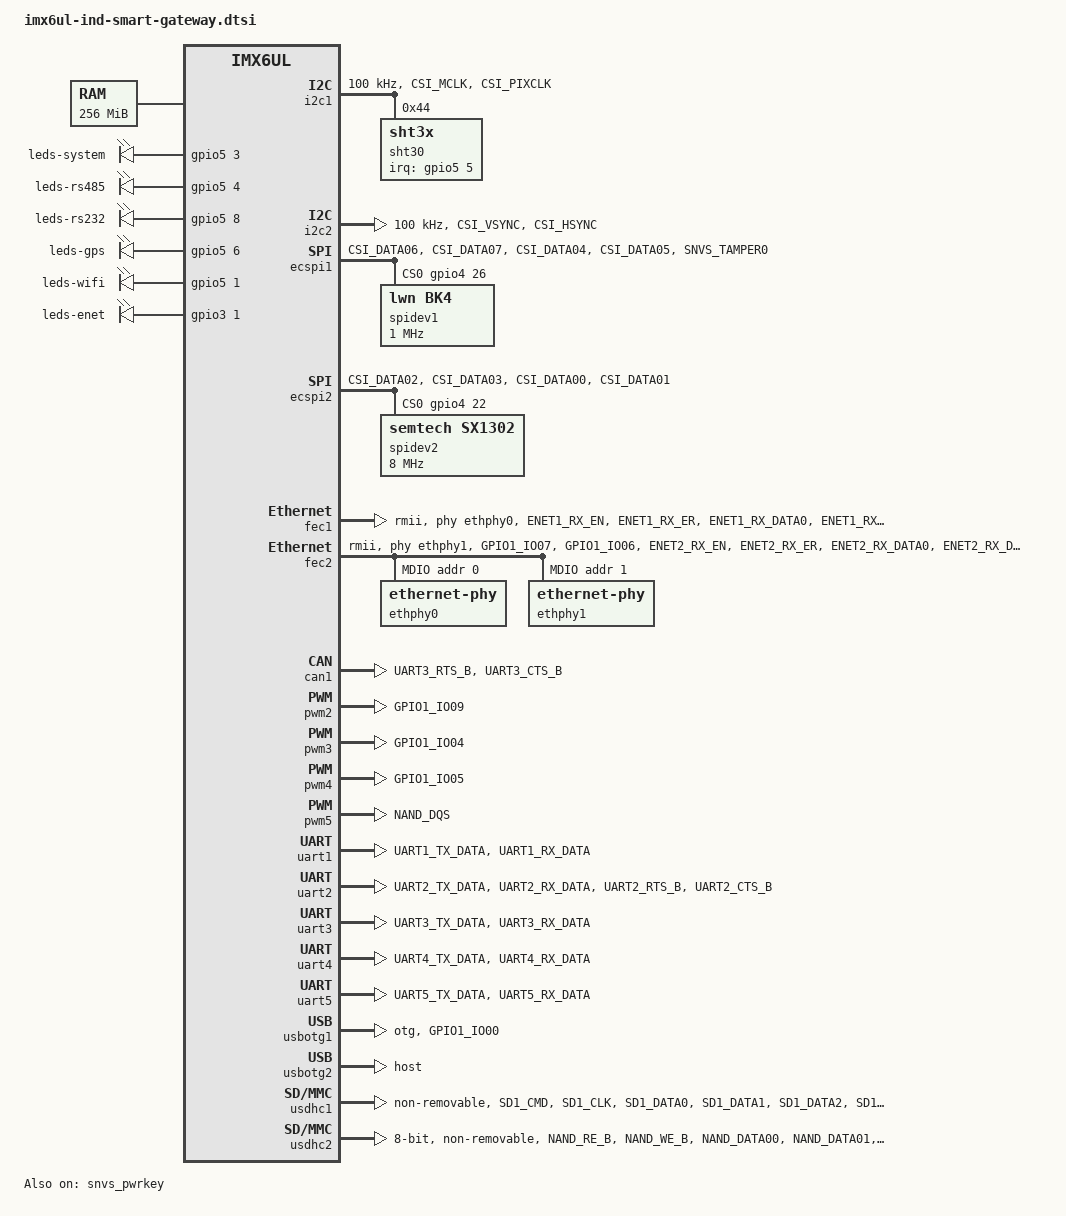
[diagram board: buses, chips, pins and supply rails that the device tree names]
// SPDX-License-Identifier: GPL-2.0
//
// Copyright (C) 2015 Freescale Semiconductor, Inc.

/ {
	chosen {
		stdout-path = &uart1;
	};

	memory@80000000 {
		device_type = "memory";
		reg = <0x80000000 0x10000000>;
	};

	reserved-memory {
		#address-cells = <1>;
		#size-cells = <1>;
		ranges;

		linux,cma {
			compatible = "shared-dma-pool";
			reusable;
			size = <0xa000000>;
			linux,cma-default;
		};
	};

	leds {
		compatible = "gpio-leds";
		pinctrl-names = "default";
		pinctrl-0 = <&pinctrl_snvs_gpio_leds>,<&pinctrl_gpio_leds>;

		leds-system {
			label = "leds-system";
			gpios = <&gpio5 3 GPIO_ACTIVE_HIGH>;    /* SYS LED */
			linux,default-trigger = "heartbeat";
			default-state = "off";
			status = "okay";
		};
	
		leds-timer {
			label = "leds-timer";
			gpios = <&gpio5 3 GPIO_ACTIVE_HIGH>;    /* SYS LED */
			linux,default-trigger = "timer";
			default-state = "off";
			status = "disable";
		};

		leds-rs485 {
			label = "leds-rs485";
			gpios = <&gpio5 4 GPIO_ACTIVE_HIGH>;    /* RS485 LED */
			linux,default-trigger = "gpio";
			trigger-sources = <&uart5>;
			default-state = "off";
			status = "okay";
		};

		leds-rs232 {
			label = "leds-rs232";
			gpios = <&gpio5 8 GPIO_ACTIVE_HIGH>;    /* RS232 LED */
			linux,default-trigger = "gpio";
			trigger-sources = <&uart3>;
			default-state = "off";
			status = "okay";
		};

		leds-gps {
			label = "leds-gps";
			gpios = <&gpio5 6 GPIO_ACTIVE_HIGH>;    /* GPS LED */
			linux,default-trigger = "gpio";
			trigger-sources = <&uart4>;
			default-state = "off";
			status = "okay";
		};

		leds-wifi {
			label = "leds-wifi";
			gpios = <&gpio5 1 GPIO_ACTIVE_HIGH>;    /* WIFI LED */
			linux,default-trigger = "gpio";
			trigger-sources = <&usdhc1>;
			default-state = "off";
			status = "okay";
		};

		leds-enet {
			label = "leds-enet";
			gpios = <&gpio3 1 GPIO_ACTIVE_HIGH>;    /* ENET LED */
			linux,default-trigger = "gpio";
			trigger-sources = <&fec1>,<&fec2>;
			default-state = "off";
			status = "okay";
		};
	};
};

&clks {
	assigned-clocks = <&clks IMX6UL_CLK_PLL4_AUDIO_DIV>;
	assigned-clock-rates = <786432000>;
};

&gpc {
	fsl,cpu_pupscr_sw2iso = <0xf>;
	fsl,cpu_pupscr_sw = <0x0>;
	fsl,cpu_pdnscr_iso2sw = <0x1>;
	fsl,cpu_pdnscr_iso = <0x1>;
	fsl,ldo-bypass = <0>; /* DCDC, ldo-enable */
};

&i2c1 {
	clock-frequency = <100000>;
	pinctrl-names = "default";
	pinctrl-0 = <&pinctrl_i2c1>;
	status = "okay";
	
	sht30@44 {
		compatible = "sht3x";
		reg = <0x44>;
		position = <0>;
		interrupt-parent = <&gpio5>;
		interrupts = <5 5>;
	};
};

&i2c2 {
	clock-frequency = <100000>;
	pinctrl-names = "default";
	pinctrl-0 = <&pinctrl_i2c2>;
	status = "okay";
};

&ecspi1 {
	fsl,spi-num-chipselects = <1>;
	cs-gpios = <&gpio4 26 0>;
	pinctrl-names = "default";
	pinctrl-0 = <&pinctrl_ecspi1>,<&pinctrl_ecspi1_int>;
	status = "okay";

	spidev1: iw612@0 {
		#address-cells = <1>;
		#size-cells = <1>;
        compatible = "lwn,bk4";
        spi-max-frequency = <1000000>;
		reg = <0>;
	};
};

&ecspi2 {
	fsl,spi-num-chipselects = <1>;
	cs-gpios = <&gpio4 22 0>;
	pinctrl-names = "default";
	pinctrl-0 = <&pinctrl_ecspi2>;
	status = "okay";

	spidev2: sx1302@0 {
		#address-cells = <1>;
		#size-cells = <1>;
		compatible = "semtech,sx1302";
		spi-max-frequency = <8000000>;
		reg = <0>;
	};
};

&fec1 {
	pinctrl-names = "default";
	pinctrl-0 = <&pinctrl_enet1>;
	phy-mode = "rmii";
	phy-handle = <&ethphy0>;
	phy-reset-gpios = <&gpio5 9 GPIO_ACTIVE_LOW>;
	phy-reset-duration = <50>;
	phy-reset-post-delay = <50>;
	status = "okay";
};

&fec2 {
	pinctrl-names = "default";
	pinctrl-0 = <&pinctrl_enet2>;
	phy-mode = "rmii";
	phy-handle = <&ethphy1>;
	phy-reset-gpios = <&gpio5 7 GPIO_ACTIVE_LOW>;
	phy-reset-duration = <50>;
	phy-reset-post-delay = <50>;
	status = "okay";

	mdio {
		#address-cells = <1>;
		#size-cells = <0>;

		ethphy0: ethernet-phy@0 {
			reg = <0>;
			micrel,led-mode = <1>;
			clocks = <&clks IMX6UL_CLK_ENET_REF>;
			clock-names = "rmii-ref";

		};

		ethphy1: ethernet-phy@1 {
			reg = <1>;
			micrel,led-mode = <1>;
			clocks = <&clks IMX6UL_CLK_ENET2_REF>;
			clock-names = "rmii-ref";
		};
	};
};

&can1 {
	pinctrl-names = "default";
	pinctrl-0 = <&pinctrl_flexcan1>;
	status = "okay";
};

&can2 {
	pinctrl-names = "default";
	pinctrl-0 = <&pinctrl_flexcan2>;
	status = "disable";
};

&pwm2 {
	#pwm-cells = <2>;
	pinctrl-names = "default";
	pinctrl-0 = <&pinctrl_pwm2>;
	clocks = <&clks IMX6UL_CLK_PWM2>,
		<&clks IMX6UL_CLK_PWM2>;
	status = "okay";
};

&pwm3 {
	#pwm-cells = <2>;
	pinctrl-names = "default";
	pinctrl-0 = <&pinctrl_pwm3>;
	clocks = <&clks IMX6UL_CLK_PWM3>,
		<&clks IMX6UL_CLK_PWM3>;
	status = "okay";
};

&pwm4 {
	#pwm-cells = <2>;
	pinctrl-names = "default";
	pinctrl-0 = <&pinctrl_pwm4>;
	clocks = <&clks IMX6UL_CLK_PWM4>,
		<&clks IMX6UL_CLK_PWM4>;
	status = "okay";
};

&pwm5 {
	#pwm-cells = <2>;
	pinctrl-names = "default";
	pinctrl-0 = <&pinctrl_pwm5>;
	clocks = <&clks IMX6UL_CLK_PWM5>,
		<&clks IMX6UL_CLK_PWM5>;
	status = "okay";
};

&sai2 {
	pinctrl-names = "default";
	pinctrl-0 = <&pinctrl_sai2>;
	assigned-clocks = <&clks IMX6UL_CLK_SAI2_SEL>,
			  <&clks IMX6UL_CLK_SAI2>;
	assigned-clock-parents = <&clks IMX6UL_CLK_PLL4_AUDIO_DIV>;
	assigned-clock-rates = <0>, <12288000>;
	fsl,sai-mclk-direction-output;
	status = "disable";
};

&snvs_poweroff {
	status = "okay";
};

&snvs_pwrkey {
	status = "okay";
};

&uart1 {
	pinctrl-names = "default";
	pinctrl-0 = <&pinctrl_uart1>;
	status = "okay";
};

&uart2 {
	pinctrl-names = "default";
	pinctrl-0 = <&pinctrl_uart2>;
	uart-has-rtscts;
	status = "okay";
};

&uart3 {
	pinctrl-names = "default";
	pinctrl-0 = <&pinctrl_uart3>;
	status = "okay";
};

&uart4 {
	pinctrl-names = "default";
	pinctrl-0 = <&pinctrl_uart4>;
	status = "okay";
};

&uart5 {
	pinctrl-names = "default";
	pinctrl-0 = <&pinctrl_uart5>;
	status = "okay";
};

&usbotg1 {
	pinctrl-names = "default";
	pinctrl-0 = <&pinctrl_usb_otg1>;
	dr_mode = "otg";
	srp-disable;
	hnp-disable;
	adp-disable;
	status = "okay";
};

&usbotg2 {
	dr_mode = "host";
	disable-over-current;
	status = "okay";
};

&usbphy1 {
	fsl,tx-d-cal = <106>;
};

&usbphy2 {
	fsl,tx-d-cal = <106>;
};

&usdhc1 {
	pinctrl-names = "default", "state_100mhz", "state_200mhz";
	pinctrl-0 = <&pinctrl_usdhc1>;
	pinctrl-1 = <&pinctrl_usdhc1_100mhz>;
	pinctrl-2 = <&pinctrl_usdhc1_200mhz>;
	non-removable;
	no-1-8-v;
	keep-power-in-suspend;
	wakeup-source;
	status = "okay";
};

&usdhc2 {
	pinctrl-names = "default", "state_100mhz", "state_200mhz";
	pinctrl-0 = <&pinctrl_usdhc2_8bit>, <&pinctrl_usdhc2_rst>;
	pinctrl-1 = <&pinctrl_usdhc2_8bit_100mhz>, <&pinctrl_usdhc2_rst>;
	pinctrl-2 = <&pinctrl_usdhc2_8bit_200mhz>, <&pinctrl_usdhc2_rst>;
	bus-width = <8>;
	non-removable;
	no-1-8-v;
	keep-power-in-suspend;
	wakeup-source;
	status = "okay";
};

&wdog1 {
	pinctrl-names = "default";
	pinctrl-0 = <&pinctrl_wdog>;
	fsl,ext-reset-output;
};

&iomuxc {
	pinctrl-names = "default";

	pinctrl_enet1: enet1grp {
		fsl,pins = <
			MX6UL_PAD_ENET1_RX_EN__ENET1_RX_EN		0x1b0b0
			MX6UL_PAD_ENET1_RX_ER__ENET1_RX_ER		0x1b0b0
			MX6UL_PAD_ENET1_RX_DATA0__ENET1_RDATA00	0x1b0b0
			MX6UL_PAD_ENET1_RX_DATA1__ENET1_RDATA01	0x1b0b0
			MX6UL_PAD_ENET1_TX_EN__ENET1_TX_EN		0x1b0b0
			MX6UL_PAD_ENET1_TX_DATA0__ENET1_TDATA00	0x1b0b0
			MX6UL_PAD_ENET1_TX_DATA1__ENET1_TDATA01	0x1b0b0
			MX6UL_PAD_ENET1_TX_CLK__ENET1_REF_CLK1	0x4001b031
			MX6ULL_PAD_SNVS_TAMPER9__GPIO5_IO09		0x80000000 /* ENET1 RST */
			MX6UL_PAD_UART1_CTS_B__GPIO1_IO18		0x80000000 /* ENET1 INT */
		>;
	};

	pinctrl_enet2: enet2grp {
		fsl,pins = <
			MX6UL_PAD_GPIO1_IO07__ENET2_MDC			0x1b0b0
			MX6UL_PAD_GPIO1_IO06__ENET2_MDIO		0x1b0b0
			MX6UL_PAD_ENET2_RX_EN__ENET2_RX_EN		0x1b0b0
			MX6UL_PAD_ENET2_RX_ER__ENET2_RX_ER		0x1b0b0
			MX6UL_PAD_ENET2_RX_DATA0__ENET2_RDATA00	0x1b0b0
			MX6UL_PAD_ENET2_RX_DATA1__ENET2_RDATA01	0x1b0b0
			MX6UL_PAD_ENET2_TX_EN__ENET2_TX_EN		0x1b0b0
			MX6UL_PAD_ENET2_TX_DATA0__ENET2_TDATA00	0x1b0b0
			MX6UL_PAD_ENET2_TX_DATA1__ENET2_TDATA01	0x1b0b0
			MX6UL_PAD_ENET2_TX_CLK__ENET2_REF_CLK2	0x4001b031
			MX6ULL_PAD_SNVS_TAMPER7__GPIO5_IO07		0x80000000  /* ENET2 RST */
			MX6UL_PAD_UART1_RTS_B__GPIO1_IO19		0x80000000	/* ENET2 INT */
		>;
	};

	pinctrl_flexcan1: flexcan1grp{
		fsl,pins = <
			MX6UL_PAD_UART3_RTS_B__FLEXCAN1_RX		0x1b020
			MX6UL_PAD_UART3_CTS_B__FLEXCAN1_TX		0x1b020
		>;
	};

	pinctrl_flexcan2: flexcan2grp{
		fsl,pins = <
			MX6UL_PAD_UART2_RTS_B__FLEXCAN2_RX		0x1b020
			MX6UL_PAD_UART2_CTS_B__FLEXCAN2_TX		0x1b020
		>;
	};

	pinctrl_i2c1: i2c1grp {
		fsl,pins = <
			MX6UL_PAD_CSI_MCLK__I2C1_SDA			0x4001b8b0
			MX6UL_PAD_CSI_PIXCLK__I2C1_SCL			0x4001b8b0
		>;
	};

	pinctrl_i2c2: i2c2grp {
		fsl,pins = <
			MX6UL_PAD_CSI_VSYNC__I2C2_SDA	  		0x4001b8b0
			MX6UL_PAD_CSI_HSYNC__I2C2_SCL	  		0x4001b8b0
		>;
	};

	pinctrl_sai2: sai2grp {
		fsl,pins = <
			MX6UL_PAD_JTAG_TDI__SAI2_TX_BCLK		0x17088
			MX6UL_PAD_JTAG_TDO__SAI2_TX_SYNC		0x17088
			MX6UL_PAD_JTAG_TRST_B__SAI2_TX_DATA		0x11088
			MX6UL_PAD_JTAG_TCK__SAI2_RX_DATA		0x11088
			MX6UL_PAD_JTAG_TMS__SAI2_MCLK			0x17088
			MX6UL_PAD_SNVS_TAMPER4__GPIO5_IO04		0x17059
		>;
	};

	pinctrl_pwm2: pwm2grp {
		fsl,pins = <
			MX6UL_PAD_GPIO1_IO09__PWM2_OUT			0x110b0		/* BUZZER */
		>;
	};

	pinctrl_pwm3: pwm3grp {
		fsl,pins = <
			MX6UL_PAD_GPIO1_IO04__PWM3_OUT			0x110b0		/* DO3 */
		>;
	};

	pinctrl_pwm4: pwm4grp {
		fsl,pins = <
			MX6UL_PAD_GPIO1_IO05__PWM4_OUT			0x110b0		/* DO2 */
		>;
	};

	pinctrl_pwm5: pwm5grp {
		fsl,pins = <
			 MX6UL_PAD_NAND_DQS__PWM5_OUT			0x110b0		/* DO1 */
		>;
	};

	pinctrl_ecspi1: ecspi1grp {
		fsl,pins = <
			MX6UL_PAD_CSI_DATA06__ECSPI1_MOSI 		0x10b0		/* MOSI */
			MX6UL_PAD_CSI_DATA07__ECSPI1_MISO 		0x10b0		/* MISO */
			MX6UL_PAD_CSI_DATA04__ECSPI1_SCLK 		0x10b0		/* SCLK */
			MX6UL_PAD_CSI_DATA05__GPIO4_IO26  		0x10b0		/* CS */
		>;
	};

	pinctrl_ecspi2: ecspi2grp {
		fsl,pins = <
			MX6UL_PAD_CSI_DATA02__ECSPI2_MOSI 		0x10b0		/* MOSI */
			MX6UL_PAD_CSI_DATA03__ECSPI2_MISO 		0x10b0		/* MISO */
			MX6UL_PAD_CSI_DATA00__ECSPI2_SCLK 		0x10b0		/* SCLK */
			MX6UL_PAD_CSI_DATA01__GPIO4_IO22  		0x10b0		/* CS */
		>;
	};

	pinctrl_uart1: uart1grp {
		fsl,pins = <
			MX6UL_PAD_UART1_TX_DATA__UART1_DCE_TX 	0x1b0b1
			MX6UL_PAD_UART1_RX_DATA__UART1_DCE_RX 	0x1b0b1
		>;
	};

	pinctrl_uart2: uart2grp {
		fsl,pins = <
			MX6UL_PAD_UART2_TX_DATA__UART2_DCE_TX	0x1b0b1
			MX6UL_PAD_UART2_RX_DATA__UART2_DCE_RX	0x1b0b1
			MX6UL_PAD_UART2_RTS_B__UART2_DCE_RTS	0x1b0b0
			MX6UL_PAD_UART2_CTS_B__UART2_DCE_CTS	0x1b0b0
		>;
	};

	pinctrl_uart3: uart3grp {
		fsl,pins = <
			MX6UL_PAD_UART3_TX_DATA__UART3_DCE_TX	0x1b0b1
			MX6UL_PAD_UART3_RX_DATA__UART3_DCE_RX	0x1b0b1
		>;
	};

	pinctrl_uart4: uart4grp {
		fsl,pins = <
			/* GPS */
			MX6UL_PAD_UART4_TX_DATA__UART4_DCE_TX	0x1b0b1
			MX6UL_PAD_UART4_RX_DATA__UART4_DCE_RX	0x1b0b1
		>;
	};

	pinctrl_uart5: uart5grp {
		fsl,pins = <
			/* RS485 */
			MX6UL_PAD_UART5_TX_DATA__UART5_DCE_TX	0x1b0b1
			MX6UL_PAD_UART5_RX_DATA__UART5_DCE_RX	0x1b0b1
		>;
	};

	pinctrl_usb_otg1: usbotg1grp {
		fsl,pins = <
			MX6UL_PAD_GPIO1_IO00__ANATOP_OTG1_ID	0x17059
		>;
	};

	pinctrl_usdhc1: usdhc1grp {
		fsl,pins = <
			MX6UL_PAD_SD1_CMD__USDHC1_CMD     		0x17059
			MX6UL_PAD_SD1_CLK__USDHC1_CLK			0x10059
			MX6UL_PAD_SD1_DATA0__USDHC1_DATA0 		0x17059
			MX6UL_PAD_SD1_DATA1__USDHC1_DATA1 		0x17059
			MX6UL_PAD_SD1_DATA2__USDHC1_DATA2 		0x17059
			MX6UL_PAD_SD1_DATA3__USDHC1_DATA3 		0x17059
		>;
	};

	pinctrl_usdhc1_100mhz: usdhc1grp100mhz {
		fsl,pins = <
			MX6UL_PAD_SD1_CMD__USDHC1_CMD     		0x170b9
			MX6UL_PAD_SD1_CLK__USDHC1_CLK     		0x100b9
			MX6UL_PAD_SD1_DATA0__USDHC1_DATA0 		0x170b9
			MX6UL_PAD_SD1_DATA1__USDHC1_DATA1 		0x170b9
			MX6UL_PAD_SD1_DATA2__USDHC1_DATA2 		0x170b9
			MX6UL_PAD_SD1_DATA3__USDHC1_DATA3 		0x170b9

		>;
	};

	pinctrl_usdhc1_200mhz: usdhc1grp200mhz {
		fsl,pins = <
			MX6UL_PAD_SD1_CMD__USDHC1_CMD     		0x170f9
			MX6UL_PAD_SD1_CLK__USDHC1_CLK     		0x100f9
			MX6UL_PAD_SD1_DATA0__USDHC1_DATA0 		0x170f9
			MX6UL_PAD_SD1_DATA1__USDHC1_DATA1 		0x170f9
			MX6UL_PAD_SD1_DATA2__USDHC1_DATA2 		0x170f9
			MX6UL_PAD_SD1_DATA3__USDHC1_DATA3 		0x170f9
		>;
	};

	pinctrl_usdhc2: usdhc2grp {
		fsl,pins = <
			MX6UL_PAD_NAND_RE_B__USDHC2_CLK     	0x17059
			MX6UL_PAD_NAND_WE_B__USDHC2_CMD     	0x17059
			MX6UL_PAD_NAND_DATA00__USDHC2_DATA0 	0x17059
			MX6UL_PAD_NAND_DATA01__USDHC2_DATA1 	0x17059
			MX6UL_PAD_NAND_DATA02__USDHC2_DATA2 	0x17059
			MX6UL_PAD_NAND_DATA03__USDHC2_DATA3 	0x17059
		>;
	};

	pinctrl_usdhc2_8bit: usdhc2grp_8bit {
		fsl,pins = <
			MX6UL_PAD_NAND_RE_B__USDHC2_CLK     	0x10059
			MX6UL_PAD_NAND_WE_B__USDHC2_CMD     	0x17059
			MX6UL_PAD_NAND_DATA00__USDHC2_DATA0 	0x17059
			MX6UL_PAD_NAND_DATA01__USDHC2_DATA1 	0x17059
			MX6UL_PAD_NAND_DATA02__USDHC2_DATA2 	0x17059
			MX6UL_PAD_NAND_DATA03__USDHC2_DATA3 	0x17059
			MX6UL_PAD_NAND_DATA04__USDHC2_DATA4 	0x17059
			MX6UL_PAD_NAND_DATA05__USDHC2_DATA5 	0x17059
			MX6UL_PAD_NAND_DATA06__USDHC2_DATA6 	0x17059
			MX6UL_PAD_NAND_DATA07__USDHC2_DATA7 	0x17059
		>;
	};

	pinctrl_usdhc2_8bit_100mhz: usdhc2grp_8bit_100mhz {
		fsl,pins = <
			MX6UL_PAD_NAND_RE_B__USDHC2_CLK     	0x100b9
			MX6UL_PAD_NAND_WE_B__USDHC2_CMD     	0x170b9
			MX6UL_PAD_NAND_DATA00__USDHC2_DATA0 	0x170b9
			MX6UL_PAD_NAND_DATA01__USDHC2_DATA1 	0x170b9
			MX6UL_PAD_NAND_DATA02__USDHC2_DATA2 	0x170b9
			MX6UL_PAD_NAND_DATA03__USDHC2_DATA3 	0x170b9
			MX6UL_PAD_NAND_DATA04__USDHC2_DATA4 	0x170b9
			MX6UL_PAD_NAND_DATA05__USDHC2_DATA5 	0x170b9
			MX6UL_PAD_NAND_DATA06__USDHC2_DATA6 	0x170b9
			MX6UL_PAD_NAND_DATA07__USDHC2_DATA7 	0x170b9
		>;
	};

	pinctrl_usdhc2_8bit_200mhz: usdhc2grp_8bit_200mhz {
		fsl,pins = <
			MX6UL_PAD_NAND_RE_B__USDHC2_CLK     	0x100f9
			MX6UL_PAD_NAND_WE_B__USDHC2_CMD     	0x170f9
			MX6UL_PAD_NAND_DATA00__USDHC2_DATA0 	0x170f9
			MX6UL_PAD_NAND_DATA01__USDHC2_DATA1 	0x170f9
			MX6UL_PAD_NAND_DATA02__USDHC2_DATA2 	0x170f9
			MX6UL_PAD_NAND_DATA03__USDHC2_DATA3 	0x170f9
			MX6UL_PAD_NAND_DATA04__USDHC2_DATA4 	0x170f9
			MX6UL_PAD_NAND_DATA05__USDHC2_DATA5 	0x170f9
			MX6UL_PAD_NAND_DATA06__USDHC2_DATA6 	0x170f9
			MX6UL_PAD_NAND_DATA07__USDHC2_DATA7 	0x170f9
		>;
	};

	pinctrl_usdhc2_rst: usdhc2_rst_grp {
		fsl,pins = <
			MX6UL_PAD_NAND_ALE__GPIO4_IO10      	0x17059
		>;
	};

	pinctrl_wifi_rst: wifi_rst_grp {
		fsl,pins = <
			MX6UL_PAD_LCD_CLK__GPIO3_IO00			0x10b0		/* WIFI RST */
		>;
	};

	pinctrl_wdog: wdoggrp {
		fsl,pins = <
			MX6UL_PAD_GPIO1_IO08__WDOG1_WDOG_B    	0x30b0		/* WDOG RST */
		>;
	};

	pinctrl_gpio_leds: gpio_led_grp {
		fsl,pins = <
			MX6UL_PAD_LCD_ENABLE__GPIO3_IO01		0x10b0		/* ENET LED */
		>;
	};
};

&iomuxc_snvs {
	pinctrl-names = "default_snvs";

	pinctrl_snvs_gpio_leds: gpio_leds_grp {
		fsl,pins = <
			MX6ULL_PAD_SNVS_TAMPER1__GPIO5_IO01		0x80000000	/* WIFI LED */
			MX6ULL_PAD_SNVS_TAMPER3__GPIO5_IO03		0x80000000	/* SYS LED */
			MX6ULL_PAD_SNVS_TAMPER4__GPIO5_IO04		0x80000000	/* RS485 LED */
			MX6ULL_PAD_SNVS_TAMPER6__GPIO5_IO06		0x80000000	/* GPS LED */
			MX6ULL_PAD_SNVS_TAMPER8__GPIO5_IO08		0x80000000	/* RS232 LED */
		>;
	};

	pinctrl_snvs_4g_rst: snvs_4g_rst_grp {
		fsl,pins = <
			MX6ULL_PAD_SNVS_TAMPER2__GPIO5_IO02		0x80000000	/* PCIE RST */
		>;
	};

	pinctrl_snvs_temp_int: snvs_temp_int_grp {
		fsl,pins = <
			MX6ULL_PAD_SNVS_TAMPER5__GPIO5_IO05		0x80000000	/* TEMP INT */
		>;
	};

	pinctrl_ecspi1_int: ecspi1_intgrp {
		fsl,pins = <
			MX6UL_PAD_SNVS_TAMPER0__GPIO5_IO00      0x80000000	/* IW612 SPI INT */
		>;
	};
};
